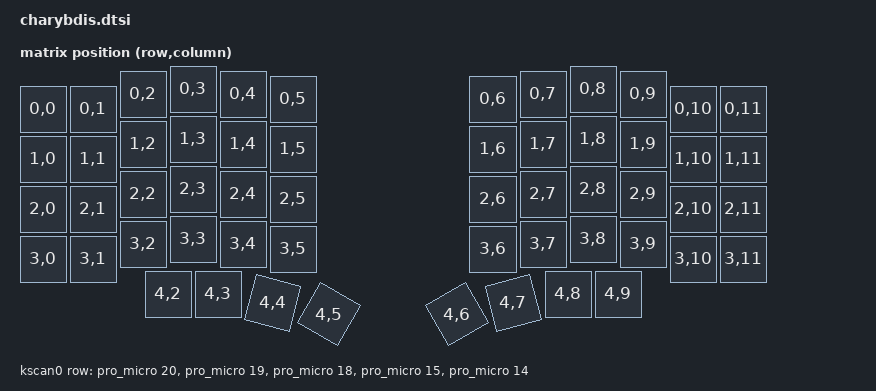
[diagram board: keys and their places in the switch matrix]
/*
 * Copyright (c) 2022 Duccio Breschi
 *
 * SPDX-License-Identifier: MIT
 */

#include <dt-bindings/zmk/matrix_transform.h>
#include <physical_layouts.dtsi>


/ {
	chosen {
		zmk,kscan = &kscan0;
		zmk,physical-layout = &charybdis;
	};

	default_transform: keymap_transform_0 {
		compatible = "zmk,matrix-transform";
		columns = <12>;
		rows = <4>;

		map = <
                 RC(0,0) RC(0,1) RC(0,2) RC(0,3) RC(0,4) RC(0,5)  RC(0,6) RC(0,7) RC(0,8) RC(0,9) RC(0,10) RC(0,11)
                 RC(1,0) RC(1,1) RC(1,2) RC(1,3) RC(1,4) RC(1,5)  RC(1,6) RC(1,7) RC(1,8) RC(1,9) RC(1,10) RC(1,11)
                 RC(2,0) RC(2,1) RC(2,2) RC(2,3) RC(2,4) RC(2,5)  RC(2,6) RC(2,7) RC(2,8) RC(2,9) RC(2,10) RC(2,11)
                 RC(3,0) RC(3,1) RC(3,2) RC(3,3) RC(3,4) RC(3,5)  RC(3,6) RC(3,7) RC(3,8) RC(3,9) RC(3,10) RC(3,11)
                                 RC(4,2) RC(4,3) RC(4,4) RC(4,5)  RC(4,6) RC(4,7) RC(4,8) RC(4,9) 
				               
		>;
	};

	kscan0: kscan {
		compatible = "zmk,kscan-gpio-matrix";
		label = "KSCAN";

		diode-direction = "col2row";
		       row-gpios=  
                        <&pro_micro 20 (GPIO_ACTIVE_HIGH | GPIO_PULL_DOWN)>
                       , <&pro_micro 19 (GPIO_ACTIVE_HIGH | GPIO_PULL_DOWN)>
                       , <&pro_micro 18 (GPIO_ACTIVE_HIGH | GPIO_PULL_DOWN)>
                       , <&pro_micro 15 (GPIO_ACTIVE_HIGH | GPIO_PULL_DOWN)>
                       , <&pro_micro 14 (GPIO_ACTIVE_HIGH | GPIO_PULL_DOWN)>
				        
				;
	};

	charybdis: charybdis {
		compatible = "zmk,physical-layout";
		display-name = "matrix layout";
	 kscan = <&kscan0>;
		transform = <&default_transform>;

         keys  //                     w   h    x    y     rot    rx    ry
            = <&key_physical_attrs 100 100    0   40       0     0     0>
            , <&key_physical_attrs 100 100  100   40       0     0     0>
            , <&key_physical_attrs 100 100  200   10       0     0     0>
            , <&key_physical_attrs 100 100  300    0       0     0     0>
            , <&key_physical_attrs 100 100  400   10       0     0     0>
            , <&key_physical_attrs 100 100  500   20       0     0     0>
            , <&key_physical_attrs 100 100  900   20       0     0     0>
            , <&key_physical_attrs 100 100 1000   10       0     0     0>
            , <&key_physical_attrs 100 100 1100    0       0     0     0>
            , <&key_physical_attrs 100 100 1200   10       0     0     0>
            , <&key_physical_attrs 100 100 1300   40       0     0     0>
            , <&key_physical_attrs 100 100 1400   40       0     0     0>
            , <&key_physical_attrs 100 100    0  140       0     0     0>
            , <&key_physical_attrs 100 100  100  140       0     0     0>
            , <&key_physical_attrs 100 100  200  110       0     0     0>
            , <&key_physical_attrs 100 100  300  100       0     0     0>
            , <&key_physical_attrs 100 100  400  110       0     0     0>
            , <&key_physical_attrs 100 100  500  120       0     0     0>
            , <&key_physical_attrs 100 100  900  120       0     0     0>
            , <&key_physical_attrs 100 100 1000  110       0     0     0>
            , <&key_physical_attrs 100 100 1100  100       0     0     0>
            , <&key_physical_attrs 100 100 1200  110       0     0     0>
            , <&key_physical_attrs 100 100 1300  140       0     0     0>
            , <&key_physical_attrs 100 100 1400  140       0     0     0>
            , <&key_physical_attrs 100 100    0  240       0     0     0>
            , <&key_physical_attrs 100 100  100  240       0     0     0>
            , <&key_physical_attrs 100 100  200  210       0     0     0>
            , <&key_physical_attrs 100 100  300  200       0     0     0>
            , <&key_physical_attrs 100 100  400  210       0     0     0>
            , <&key_physical_attrs 100 100  500  220       0     0     0>
            , <&key_physical_attrs 100 100  900  220       0     0     0>
            , <&key_physical_attrs 100 100 1000  210       0     0     0>
            , <&key_physical_attrs 100 100 1100  200       0     0     0>
            , <&key_physical_attrs 100 100 1200  210       0     0     0>
            , <&key_physical_attrs 100 100 1300  240       0     0     0>
            , <&key_physical_attrs 100 100 1400  240       0     0     0>
            , <&key_physical_attrs 100 100    0  340       0     0     0>
            , <&key_physical_attrs 100 100  100  340       0     0     0>
            , <&key_physical_attrs 100 100  200  310       0     0     0>
            , <&key_physical_attrs 100 100  300  300       0     0     0>
            , <&key_physical_attrs 100 100  400  310       0     0     0>
            , <&key_physical_attrs 100 100  500  320       0     0     0>
            , <&key_physical_attrs 100 100  900  320       0     0     0>
            , <&key_physical_attrs 100 100 1000  310       0     0     0>
            , <&key_physical_attrs 100 100 1100  300       0     0     0>
            , <&key_physical_attrs 100 100 1200  310       0     0     0>
            , <&key_physical_attrs 100 100 1300  340       0     0     0>
            , <&key_physical_attrs 100 100 1400  340       0     0     0>
            , <&key_physical_attrs 100 100  250  410       0     0     0>
            , <&key_physical_attrs 100 100  350  410       0     0     0>
            , <&key_physical_attrs 100 100  475  410    1500   450   410>
            , <&key_physical_attrs 100 100  597  400    3000   540   430>
            , <&key_physical_attrs 100 100  803  400 (-3000)   960   430>
            , <&key_physical_attrs 100 100  925  410 (-1500)  1050   410>
            , <&key_physical_attrs 100 100 1050  410       0     0     0>
            , <&key_physical_attrs 100 100 1150  410       0     0     0>
            ;
    };

    glidepoint_listener: glidepoint_listener {
        compatible = "zmk,input-listener";
        status = "disabled";
        device = <&glidepoint_split>;
    };

};
